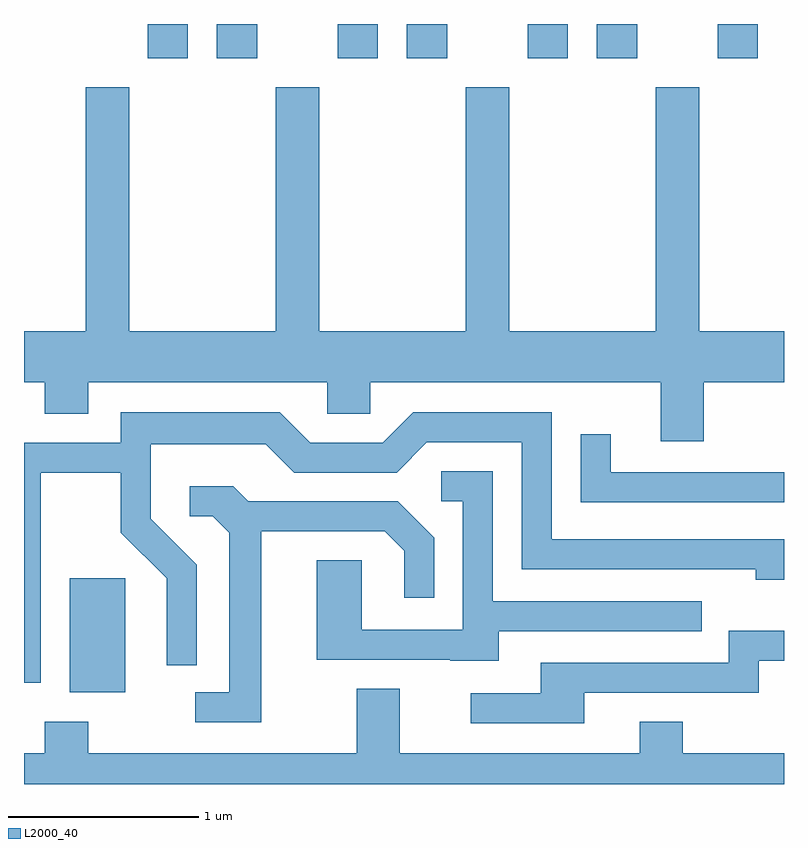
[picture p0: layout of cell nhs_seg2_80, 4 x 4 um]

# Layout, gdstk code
import gdstk
lib = gdstk.Library(unit=1e-6, precision=1e-09)
def R(c, l, rs):  # rectangles x0, y0, x1, y1
    for r in rs: c.add(gdstk.rectangle(r[:2], r[2:], *l))
def P(c, l, *ps):  # polygons
    for p in ps: c.add(gdstk.Polygon(p, *l))
L2000_40 = (2000, 40)

nhs_seg2_80 = lib.new_cell('nhs_seg2_80')
R(nhs_seg2_80, L2000_40, [(187.851,1002.286,188.144,1002.884), (188.261,1005.621,188.474,1005.802), (188.626,1005.621,188.839,1005.802), (189.261,1005.621,189.474,1005.802), (189.626,1005.621,189.839,1005.802), (190.261,1005.621,190.474,1005.802), (190.626,1005.621,190.839,1005.802), (191.261,1005.621,191.474,1005.802)])
P(nhs_seg2_80, L2000_40, [(191.189,1003.916),(191.611,1003.916),(191.611,1004.184),(191.164,1004.184),(191.164,1005.469),(190.936,1005.469),(190.936,1004.184),(190.164,1004.184),(190.164,1005.469),(189.936,1005.469),(189.936,1004.184),(189.164,1004.184),(189.164,1005.469),(188.936,1005.469),(188.936,1004.184),(188.164,1004.184),(188.164,1005.469),(187.936,1005.469),(187.936,1004.184),(187.611,1004.184),(187.611,1003.916),(187.721,1003.916),(187.721,1003.751),(187.949,1003.751),(187.949,1003.916),(189.206,1003.916),(189.206,1003.751),(189.434,1003.751),(189.434,1003.916),(190.961,1003.916),(190.961,1003.606),(191.189,1003.606)],
  [(187.699,1003.441),(188.121,1003.441),(188.121,1003.124),(188.361,1002.884),(188.361,1002.428),(188.519,1002.428),(188.519,1002.957),(188.279,1003.197),(188.279,1003.591),(188.884,1003.591),(189.034,1003.441),(189.572,1003.441),(189.732,1003.601),(190.231,1003.601),(190.231,1002.931),(191.461,1002.931),(191.461,1002.876),(191.611,1002.876),(191.611,1003.089),(190.389,1003.089),(190.389,1003.759),(189.659,1003.759),(189.499,1003.599),(189.117,1003.599),(188.957,1003.759),(188.121,1003.759),(188.121,1003.599),(187.611,1003.599),(187.611,1002.336),(187.699,1002.336)],
  [(191.611,1003.444),(190.699,1003.444),(190.699,1003.643),(190.541,1003.643),(190.541,1003.286),(191.611,1003.286)],
  [(190.109,1002.606),(191.178,1002.606),(191.178,1002.764),(190.079,1002.764),(190.079,1003.449),(189.808,1003.449),(189.808,1003.291),(189.921,1003.291),(189.921,1002.614),(189.389,1002.614),(189.389,1002.979),(189.151,1002.979),(189.151,1002.456),(189.855,1002.456),(189.855,1002.451),(190.109,1002.451)],
  [(188.859,1003.131),(189.509,1003.131),(189.611,1003.029),(189.611,1002.783),(189.769,1002.783),(189.769,1003.097),(189.577,1003.289),(188.792,1003.289),(188.712,1003.369),(188.483,1003.369),(188.483,1003.211),(188.604,1003.211),(188.691,1003.124),(188.691,1002.284),(188.513,1002.284),(188.513,1002.126),(188.859,1002.126)],
  [(190.559,1002.281),(191.479,1002.281),(191.479,1002.451),(191.611,1002.451),(191.611,1002.609),(191.321,1002.609),(191.321,1002.439),(190.331,1002.439),(190.331,1002.279),(189.963,1002.279),(189.963,1002.121),(190.559,1002.121)],
  [(191.611,1001.964),(191.079,1001.964),(191.079,1002.129),(190.851,1002.129),(190.851,1001.964),(189.589,1001.964),(189.589,1002.304),(189.361,1002.304),(189.361,1001.964),(187.949,1001.964),(187.949,1002.129),(187.721,1002.129),(187.721,1001.964),(187.611,1001.964),(187.611,1001.802),(191.611,1001.802)])

lib.write_gds('nhs_seg2_80.gds')
